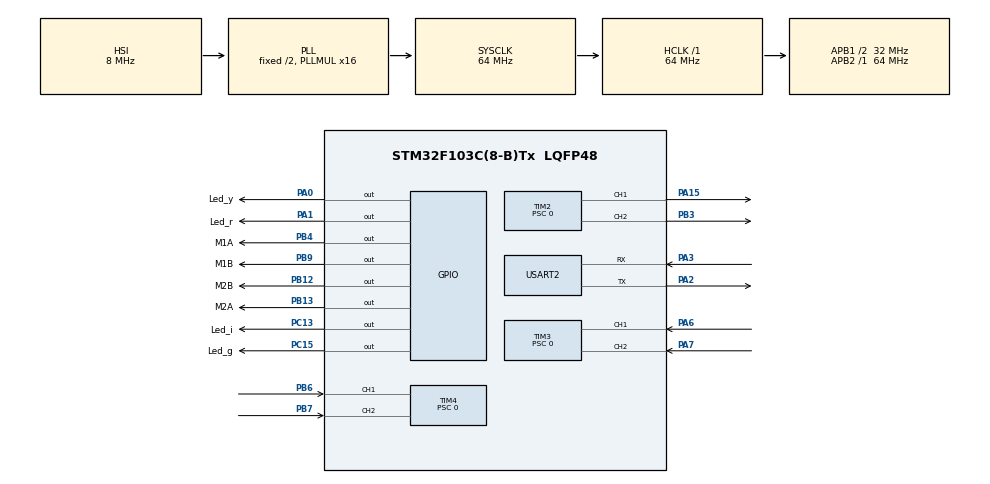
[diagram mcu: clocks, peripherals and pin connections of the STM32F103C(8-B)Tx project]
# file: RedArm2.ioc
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Mcu.Family=STM32F1
Mcu.Name=STM32F103C(8-B)Tx
Mcu.Package=LQFP48
NVIC.PriorityGroup=NVIC_PRIORITYGROUP_4
NVIC.TIM2_IRQn=true\:0\:0\:false\:false\:true\:true\:true
NVIC.USART2_IRQn=true\:0\:0\:false\:false\:true\:true\:true
PA0-WKUP.GPIO_Label=Led_y
PA0-WKUP.GPIO_PuPd=GPIO_PULLUP
PA0-WKUP.Signal=GPIO_Output
PA1.GPIO_Label=Led_r
PA1.GPIO_PuPd=GPIO_PULLUP
PA1.Signal=GPIO_Output
PA13.Mode=Serial_Wire
PA13.Signal=SYS_JTMS-SWDIO
PA14.Mode=Serial_Wire
PA14.Signal=SYS_JTCK-SWCLK
PA15.Signal=S_TIM2_CH1_ETR
PA2.Mode=Asynchronous
PA2.Signal=USART2_TX
PA3.Mode=Asynchronous
PA3.Signal=USART2_RX
PA6.Signal=S_TIM3_CH1
PA7.Signal=S_TIM3_CH2
PB12.GPIO_Label=M2B
PB12.Signal=GPIO_Output
PB13.GPIO_Label=M2A
PB13.Signal=GPIO_Output
PB3.Signal=S_TIM2_CH2
PB4.GPIO_Label=M1A
PB4.Signal=GPIO_Output
PB6.Signal=S_TIM4_CH1
PB7.Signal=S_TIM4_CH2
PB9.GPIO_Label=M1B
PB9.Signal=GPIO_Output
PC13-TAMPER-RTC.GPIO_Label=Led_i
PC13-TAMPER-RTC.GPIO_PuPd=GPIO_PULLUP
PC13-TAMPER-RTC.PinState=GPIO_PIN_RESET
PC13-TAMPER-RTC.Signal=GPIO_Output
PC15-OSC32_OUT.GPIO_Label=Led_g
PC15-OSC32_OUT.GPIO_PuPd=GPIO_PULLUP
PC15-OSC32_OUT.Signal=GPIO_Output
ProjectManager.HeapSize=0x200
ProjectManager.StackSize=0x400
ProjectManager.TargetToolchain=STM32CubeIDE
RCC.AHBFreq_Value=64000000
RCC.APB1CLKDivider=RCC_HCLK_DIV2
RCC.APB1Freq_Value=32000000
RCC.APB1TimFreq_Value=64000000
RCC.APB2Freq_Value=64000000
RCC.APB2TimFreq_Value=64000000
RCC.HCLKFreq_Value=64000000
RCC.PLLMUL=RCC_PLL_MUL16
RCC.SYSCLKFreq_VALUE=64000000
RCC.SYSCLKSource=RCC_SYSCLKSOURCE_PLLCLK
RCC.USBFreq_Value=64000000
SH.S_TIM2_CH1_ETR.0=TIM2_CH1,PWM Generation1 CH1
SH.S_TIM2_CH2.0=TIM2_CH2,PWM Generation2 CH2
SH.S_TIM3_CH1.0=TIM3_CH1,Encoder_Interface
SH.S_TIM3_CH2.0=TIM3_CH2,Encoder_Interface
SH.S_TIM4_CH1.0=TIM4_CH1,Encoder_Interface
SH.S_TIM4_CH2.0=TIM4_CH2,Encoder_Interface
TIM2.Channel-PWM\ Generation1\ CH1=TIM_CHANNEL_1
TIM2.Channel-PWM\ Generation2\ CH2=TIM_CHANNEL_2
TIM2.ClockDivision=TIM_CLOCKDIVISION_DIV1
TIM2.OC1Preload_PWM=DISABLE
TIM2.OC2Preload_PWM=DISABLE
TIM2.Period=3199
TIM2.Prescaler=0
TIM2.Pulse-PWM\ Generation2\ CH2=0
TIM3.EncoderMode=TIM_ENCODERMODE_TI12
TIM3.Period=59999
TIM3.Prescaler=0
TIM4.EncoderMode=TIM_ENCODERMODE_TI12
TIM4.Period=59999
TIM4.Prescaler=0
USART2.VirtualMode=VM_ASYNC
VP_TIM2_VS_ClockSourceINT.Mode=Internal
board=custom

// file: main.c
/* USER CODE BEGIN Header */
/**
  ******************************************************************************
  * Arquivo           : main.c
  *
  * Descrição         : Código do microcontrolador ARM para os robôs VSSS da
  * 					Equipe Red Dragons UFSCar. Desenvolvido por Matheus
  * 					Sousa Soares em 2020.
  *
  * 					Para contato: matheussousasf@gmail.com ou
  * 								  matheussousa@df.ufscar.br
  * 								  (31) 975340460
  *
  ******************************************************************************
  ******************************************************************************
  *
  * Organizar código com comentários e com um mini interface no começo
  *
  *
  ******************************************************************************
  ******************************************************************************
  * Código desenvolvido na CUBE IDE 1.7.0
  *
  * Lista de funções desempenhadas:
  * Comunicação UART por interrupção com módulo Xbee
  * Leitura e interpretação da mensagem recebida
  * Geração de PWM para motores
  * Leitura dos Encoders
  * Controle da velocidade dos motores com PWM gerado
  * Modo de ajuste do controlador
  *
  * ****************************************************************************
  * Como utilizar:
  *
  * Editar nas partes com "USER CODE" o resto do código é gerado automaticamente
  * pela parte de configuração do microcontrolador na IDE (arquivo .ioc).
  *
  * Organize e comente as suas funções e códigos adequadamente para facilitar
  * para os membros futuros da equipe. Utilize o Git para atualizar o código.
  *
  * Modo de Controle:
  * 	Ativar a variável "medir_vel" = 1
  *
  * 	Para medir a velocidade sem controlador:
  * 		Ativar a variável "desl_controlador" = 1
  * 		Sertar PWM do teste na variável "PWM_test"
  * 		O robô então vai se mover com a tensão nos motores correspondente ao PWM setado
  * 		Depois de medir a velocidade por uma quantidade de pontos igual a "vetor_dados"
  * 		O robô vai parar e enviar os dados pelo módulo de rádio.
  *
  * 	Para medir a velocidade com o controlador:
  * 		Desativar a variável "desl_controlador" = 0
  * 		Setar a velocidade alvo de cada controlador nas variáveis "w_targetM1" e "w_targetM12"
  * 			Essa velocidade está em rad/s
  * 		Depois de medir a velocidade por uma quantidade de pontos igual a "vetor_dados"
  * 		O robô vai parar e enviar os dados pelo módulo de rádio.
  *
  * Modo de jogo:
  * 	Desativar a variável "medir_vel" = 0
  * 	O robô vai aguradar uma menságem para definir o setpoint do controlar
  *
  *		OBS: O tempo de loop do controlador e da medição dos dados foi definido em 10ms por
  *			conta da resolução dos encoders.
  *
  * ***************************************************************************
  * Partes do código
  * USER CODE Header: Comentários de introdução
  * USER CODE Includes: Bibliotecas do usuário
  * USER CODE PV: Vazio
  * USER CODE 0: Declaração de variáveis
  * USER CODE 1: Variáveis da equação de controle e
  * USER CODE SysInit: Vazio
  * USER CODE 2: Inicialização do sistema
  * USER CODE WHILE: Loop de programa
  * USER CODE 3: Vazio
  * USER CODE 4: Funções de interrupção e timers
  *
  * Preencher aqui conforme o código for atualizado, por favor.
  ******************************************************************************
  */
/* USER CODE END Header */
#include "main.h"

/* USER CODE BEGIN Includes */
#include "math.h"
/* USER CODE END Includes */

TIM_HandleTypeDef htim2;
TIM_HandleTypeDef htim3;
TIM_HandleTypeDef htim4;

UART_HandleTypeDef huart2;

void SystemClock_Config(void);
static void MX_GPIO_Init(void);
static void MX_TIM2_Init(void);
static void MX_TIM3_Init(void);
static void MX_TIM4_Init(void);
static void MX_USART2_UART_Init(void);

/* USER CODE BEGIN 0 */

//Variáveis gerais
static int true = 1;
static int false = 0;
uint16_t delay = 500;

//Variáveis do modo de controle
int vetor_dados = 150;

int medir_vel = 0;
int desl_controlador = 0;
int PWM_test = 3200;

double w_targetM1 = 20;
double w_targetM2 = 20;

int cont_vel = 0;
double velocidadesM1[150]= {};
double velocidadesM2[150]= {};
uint8_t buffer_vel[6] = {};
int start_medir_vel = 0;

//Variáveis de comunicação serial
uint8_t size_msg = 10;
uint8_t tx_buffer[] = {'L','i','g','a','d','o',' ',' ',' ','\n'}; // Msg inicial enviada pelo robô
uint8_t rx_buffer[10]; //Buffer que recebe as mensagens

// Variáveis de controle dos motores
uint16_t duty_cycle = 0;
int speedM1 = 0;
int speedM2 = 0;
unsigned int pwmM1 = 0;
unsigned int pwmM2 = 0;
int sentidoM1 = 0;
int sentidoM2 = 0;
int cont_loop = 200;

double w_rodaM1[2] = {};
double w_rodaM2[2] = {};

double acaoM1[2] = {0,0};
double acaoM2[2] = {0,0};
double erroM1[3] = {0,0,0};
double erroM2[3] = {0,0,0};

int pulse_cnt = 3200; // Contagem de pulsos do clock. É a resolução do PWM
int cont_controle = 0;
int npulsos = 12;
int cppM1[2] ={0,0};
int cppM2[2] = {0,0};
int flag_controle = 0;

// Valores do controlador
double K1 = 20*0.9;
double Td1 = 2e-3;
double Ti1 = 10e-3;
double K2 = 20*0.9;
double Td2 = 2e-3;
double Ti2 = 10e-3;

/* USER CODE END 0 */

int main(void)
{
  /* USER CODE BEGIN 1 */

	if (medir_vel == false){
		w_targetM1 = 0.0;
		w_targetM2 = 0.0;
	}

	double Tloop = 2.0/(cont_loop);

	// Variáveis do controlador
	double M1A1 = 2.0*Tloop*K1 + K1*(Tloop*Tloop)/Ti1 + 2.0*K1*Td1;
	double M1A2 = K1*(Tloop*Tloop)/Ti1 - 2.0*Tloop*K1 - 4.0*K1*Td1;
	double M1A3 = 2.0*K1*Td1;

	double M2A1 = 2.0*Tloop*K2 + K2*(Tloop*Tloop)/Ti2 + 2.0*K2*Td2;
	double M2A2 = K2*(Tloop*Tloop)/Ti2 - 2.0*Tloop*K2 - 4.0*K2*Td2;
	double M2A3 = 2.0*K2*Td2;

  /* USER CODE END 1 */

  /* MCU Configuration--------------------------------------------------------*/

  /* Reset of all peripherals, Initializes the Flash interface and the Systick. */
  HAL_Init();

  /* Configure the system clock */
  SystemClock_Config();

  /* Initialize all configured peripherals */
  MX_GPIO_Init();
  MX_TIM2_Init();
  MX_TIM3_Init();
  MX_TIM4_Init();
  MX_USART2_UART_Init();
  /* USER CODE BEGIN 2 */

  HAL_UART_Transmit_IT(&huart2, tx_buffer, size_msg); // envia a msg inicial
  HAL_UART_Receive_IT(&huart2, rx_buffer, size_msg);// Faz com que o robô ligue o receptor de msg
  HAL_TIM_PWM_Start(&htim2, TIM_CHANNEL_2); // Inicia o Timer 2 do PWM
  HAL_TIM_PWM_Start(&htim2, TIM_CHANNEL_1);
  HAL_TIM_Base_Start_IT(&htim2); // Inicia o Timer 2 no modo de interrupção.
  HAL_TIM_Encoder_Start(&htim3, TIM_CHANNEL_ALL); // Inicia o encoder M1
  HAL_TIM_Encoder_Start(&htim4, TIM_CHANNEL_ALL); //Inicia o módulo de leitura do encoder M2
  HAL_GPIO_WritePin(Led_i_GPIO_Port, Led_i_Pin, SET);// Desliga o led da placa de desenvolvimento
  HAL_GPIO_WritePin(M2A_GPIO_Port, M2A_Pin, RESET);
  HAL_GPIO_WritePin(M2B_GPIO_Port, M2B_Pin, RESET);
  HAL_GPIO_WritePin(M1A_GPIO_Port, M1A_Pin, RESET);
  HAL_GPIO_WritePin(M1B_GPIO_Port, M1B_Pin, RESET);

  HAL_Delay(2000); // Delay para zerar qualquer velocidade do robô
  HAL_GPIO_WritePin(M2A_GPIO_Port, M2A_Pin, SET);
  HAL_GPIO_WritePin(M2B_GPIO_Port, M2B_Pin, RESET);
  HAL_GPIO_WritePin(M1A_GPIO_Port, M1A_Pin, SET);
  HAL_GPIO_WritePin(M1B_GPIO_Port, M1B_Pin, RESET);

  if(desl_controlador == true){
	  __HAL_TIM_SET_COMPARE(&htim2, TIM_CHANNEL_1, PWM_test);
	  __HAL_TIM_SET_COMPARE(&htim2, TIM_CHANNEL_2, PWM_test);
  }

  /* USER CODE END 2 */

  /* Infinite loop */
  /* USER CODE BEGIN WHILE */

	  while (1)
	  {

		  if(flag_controle == true){
			  HAL_GPIO_TogglePin(Led_g_GPIO_Port,Led_g_Pin);
			  flag_controle = false;

			  cppM1[0] = TIM3->CNT;
			  cppM2[0] = TIM4->CNT;

			  // Começa o update

			  // Checagem do sentido de rotação das rodas e calculo da velocidade

			  if (TIM3->CNT >= cppM1[1]){
				  sentidoM1 = 1;
				  w_rodaM1[0] = (2*M_PI*(TIM3->CNT-cppM1[1]))/(npulsos);
			  }

			  if (TIM3->CNT < cppM1[1]) {
				  sentidoM1 = 0;
				  w_rodaM1[0] = (2*M_PI*(cppM1[1]-TIM3->CNT))/(npulsos);
			  }

			  if (TIM4->CNT >= cppM2[1]){
				  sentidoM2 = 1;
				  w_rodaM2[0] = (2*M_PI*(TIM4->CNT-cppM2[1]))/(npulsos);
			  }

			  if (TIM4->CNT < cppM2[1]){
				  sentidoM2 = 0;
				  w_rodaM2[0] = (2*M_PI*(cppM2[1]-TIM4->CNT))/(npulsos);
			  }

			  // Filtro para o estouro do encoder
			  if (w_rodaM1[0] > 35) w_rodaM1[0] = w_rodaM1[1];
			  if (w_rodaM2[0] > 35) w_rodaM2[0] = w_rodaM2[1];

			  // Fim do update

			  w_rodaM1[1] = w_rodaM1[0];
			  w_rodaM2[1] = w_rodaM2[0];

			  erroM1[0] = w_targetM1 - w_rodaM1[0];
			  erroM2[0] = w_targetM2 - w_rodaM2[0];

			  //acaoM1[0] = acaoM1[1] + K1*(1 + Tloop/Ti1 + Td1/Tloop)*erroM1[0] - (1 - 2*Td1/Tloop)*erroM1[1] + (Td1/Tloop)*erroM1[2];
			  //acaoM2[0] = acaoM2[1] + K2*(1 + Tloop/Ti2 + Td2/Tloop)*erroM2[0] - (1 - 2*Td2/Tloop)*erroM2[1] + (Td2/Tloop)*erroM2[2];
			  acaoM1[0] += 1.0/(2*Tloop)*(M1A1*erroM1[0] + M1A2*erroM1[1] + M1A3*erroM1[2]);
			  acaoM2[0] += 1.0/(2*Tloop)*(M2A1*erroM2[0] + M2A2*erroM2[1] + M2A3*erroM2[2]);

			  pwmM1 = ceil(acaoM1[0]);
			  pwmM2 = ceil(acaoM2[0]);

			  if (pwmM1 > 3200)	pwmM1 = 3200;
			  if (pwmM1 < 0) pwmM1 = 0;
			  if (pwmM2 > 3200) pwmM2 = 3200;
			  if (pwmM2 < 0) pwmM2 = 0;

			  // Ajusta o valor do duty cycle do PWM atualizando a velocidade do robô

			  if(desl_controlador == false){
				  __HAL_TIM_SET_COMPARE(&htim2, TIM_CHANNEL_1, pwmM2);
				  __HAL_TIM_SET_COMPARE(&htim2, TIM_CHANNEL_2, pwmM1);
			  }

			  // Atualizando variáveis para o próximo loop de controle
			  cppM1[1] = cppM1[0];
			  cppM2[1] = cppM2[0];

			  erroM1[2] = erroM1[1];
			  erroM2[2] = erroM2[1];

			  erroM1[1] = erroM1[0];
			  erroM2[1] = erroM2[0];

			  acaoM1[1] = acaoM1[0];
			  acaoM2[1] = acaoM2[0];

			  if (w_rodaM1[0] > 0.1) start_medir_vel = true;

			  if (medir_vel == true){
				  if (start_medir_vel == true){
					  velocidadesM1[cont_vel] = w_rodaM1[0];
					  velocidadesM2[cont_vel] = w_rodaM2[0];
					  cont_vel ++;
				  }
			  }

			  HAL_GPIO_TogglePin(Led_g_GPIO_Port,Led_g_Pin);

			  if (cont_vel == vetor_dados){
				  HAL_TIM_Base_Stop_IT(&htim2);
				  HAL_GPIO_WritePin(M2A_GPIO_Port, M2A_Pin, RESET);
				  HAL_GPIO_WritePin(M2B_GPIO_Port, M2B_Pin, RESET);
				  HAL_GPIO_WritePin(M1A_GPIO_Port, M1A_Pin, RESET);
				  HAL_GPIO_WritePin(M1B_GPIO_Port, M1B_Pin, RESET);

				  uint8_t motor1[] = {'M','O','T','O','R','_','1',' ','\n','\n'};
				  uint8_t motor2[] = {'\n','M','O','T','O','R','_','2',' ','\n','\n'};

				  HAL_UART_Transmit_IT(&huart2, motor1, 10);

				  for(int j=0;j < vetor_dados;j++){
					  int aux = 0;
					  int aux1 = 0;
					  aux1 = floor(velocidadesM1[j]*100);

					  for(int i = 0; i<5; i++ ){

						  if(i == 4){
							  aux = aux1;
						  }
						  else{
							  aux = aux1/pow(10,4-i);
							  aux1 = aux1- aux*pow(10,4-i);
						  }

						  buffer_vel[i] = aux +'0';

					  }
					  buffer_vel[5] = '\n';
					  HAL_UART_Transmit_IT(&huart2, buffer_vel, 6);
				  }

				  HAL_Delay(1000);

				  HAL_UART_Transmit_IT(&huart2, motor2, 11);

				  for(int j=0;j< vetor_dados;j++){
					  int aux = 0;
					  int aux1 = 0;
					  aux1 = floor(velocidadesM2[j]*100);

					  for(int i = 0; i<5; i++ ){

						  if(i == 4){
							  aux = aux1;
						  }
						  else{
							  aux = aux1/pow(10,4-i);
							  aux1 = aux1- aux*pow(10,4-i);
						  }

						  buffer_vel[i] = aux +'0';

					  }
					  buffer_vel[5] = '\n';
					  HAL_UART_Transmit_IT(&huart2, buffer_vel, 6);
					  }
			  }
	  }

	  /*
	   if(retorno == true){

	  		for(int i = 0; i<10; i++ ){ // Clona e envia a msg recebida
	  			tx_buffer[i] = rx_buffer[i];
	  		}
	  		HAL_UART_Transmit_IT(&huart2, tx_buffer, 10);

		}
	    */
    /* USER CODE END WHILE */

  }
}

void SystemClock_Config(void)
{
  RCC_OscInitTypeDef RCC_OscInitStruct = {0};
  RCC_ClkInitTypeDef RCC_ClkInitStruct = {0};

  /** Initializes the RCC Oscillators according to the specified parameters
  * in the RCC_OscInitTypeDef structure.
  */
  RCC_OscInitStruct.OscillatorType = RCC_OSCILLATORTYPE_HSI;
  RCC_OscInitStruct.HSIState = RCC_HSI_ON;
  RCC_OscInitStruct.HSICalibrationValue = RCC_HSICALIBRATION_DEFAULT;
  RCC_OscInitStruct.PLL.PLLState = RCC_PLL_ON;
  RCC_OscInitStruct.PLL.PLLSource = RCC_PLLSOURCE_HSI_DIV2;
  RCC_OscInitStruct.PLL.PLLMUL = RCC_PLL_MUL16;
  if (HAL_RCC_OscConfig(&RCC_OscInitStruct) != HAL_OK)
  {
    Error_Handler();
  }
  /** Initializes the CPU, AHB and APB buses clocks
  */
  RCC_ClkInitStruct.ClockType = RCC_CLOCKTYPE_HCLK|RCC_CLOCKTYPE_SYSCLK
                              |RCC_CLOCKTYPE_PCLK1|RCC_CLOCKTYPE_PCLK2;
  RCC_ClkInitStruct.SYSCLKSource = RCC_SYSCLKSOURCE_PLLCLK;
  RCC_ClkInitStruct.AHBCLKDivider = RCC_SYSCLK_DIV1;
  RCC_ClkInitStruct.APB1CLKDivider = RCC_HCLK_DIV2;
  RCC_ClkInitStruct.APB2CLKDivider = RCC_HCLK_DIV1;

  if (HAL_RCC_ClockConfig(&RCC_ClkInitStruct, FLASH_LATENCY_2) != HAL_OK)
  {
    Error_Handler();
  }
}

static void MX_TIM2_Init(void)
{

  TIM_ClockConfigTypeDef sClockSourceConfig = {0};
  TIM_MasterConfigTypeDef sMasterConfig = {0};
  TIM_OC_InitTypeDef sConfigOC = {0};

  htim2.Instance = TIM2;
  htim2.Init.Prescaler = 0;
  htim2.Init.CounterMode = TIM_COUNTERMODE_UP;
  htim2.Init.Period = 3199;
  htim2.Init.ClockDivision = TIM_CLOCKDIVISION_DIV1;
  htim2.Init.AutoReloadPreload = TIM_AUTORELOAD_PRELOAD_DISABLE;
  if (HAL_TIM_Base_Init(&htim2) != HAL_OK)
  {
    Error_Handler();
  }
  sClockSourceConfig.ClockSource = TIM_CLOCKSOURCE_INTERNAL;
  if (HAL_TIM_ConfigClockSource(&htim2, &sClockSourceConfig) != HAL_OK)
  {
    Error_Handler();
  }
  if (HAL_TIM_PWM_Init(&htim2) != HAL_OK)
  {
    Error_Handler();
  }
  sMasterConfig.MasterOutputTrigger = TIM_TRGO_RESET;
  sMasterConfig.MasterSlaveMode = TIM_MASTERSLAVEMODE_DISABLE;
  if (HAL_TIMEx_MasterConfigSynchronization(&htim2, &sMasterConfig) != HAL_OK)
  {
    Error_Handler();
  }
  sConfigOC.OCMode = TIM_OCMODE_PWM1;
  sConfigOC.Pulse = 0;
  sConfigOC.OCPolarity = TIM_OCPOLARITY_HIGH;
  sConfigOC.OCFastMode = TIM_OCFAST_DISABLE;
  if (HAL_TIM_PWM_ConfigChannel(&htim2, &sConfigOC, TIM_CHANNEL_1) != HAL_OK)
  {
    Error_Handler();
  }
  __HAL_TIM_DISABLE_OCxPRELOAD(&htim2, TIM_CHANNEL_1);
  if (HAL_TIM_PWM_ConfigChannel(&htim2, &sConfigOC, TIM_CHANNEL_2) != HAL_OK)
  {
    Error_Handler();
  }
  __HAL_TIM_DISABLE_OCxPRELOAD(&htim2, TIM_CHANNEL_2);
  HAL_TIM_MspPostInit(&htim2);

}

static void MX_TIM3_Init(void)
{

  TIM_Encoder_InitTypeDef sConfig = {0};
  TIM_MasterConfigTypeDef sMasterConfig = {0};

  htim3.Instance = TIM3;
  htim3.Init.Prescaler = 0;
  htim3.Init.CounterMode = TIM_COUNTERMODE_UP;
  htim3.Init.Period = 59999;
  htim3.Init.ClockDivision = TIM_CLOCKDIVISION_DIV1;
  htim3.Init.AutoReloadPreload = TIM_AUTORELOAD_PRELOAD_DISABLE;
  sConfig.EncoderMode = TIM_ENCODERMODE_TI12;
  sConfig.IC1Polarity = TIM_ICPOLARITY_RISING;
  sConfig.IC1Selection = TIM_ICSELECTION_DIRECTTI;
  sConfig.IC1Prescaler = TIM_ICPSC_DIV1;
  sConfig.IC1Filter = 0;
  sConfig.IC2Polarity = TIM_ICPOLARITY_RISING;
  sConfig.IC2Selection = TIM_ICSELECTION_DIRECTTI;
  sConfig.IC2Prescaler = TIM_ICPSC_DIV1;
  sConfig.IC2Filter = 0;
  if (HAL_TIM_Encoder_Init(&htim3, &sConfig) != HAL_OK)
  {
    Error_Handler();
  }
  sMasterConfig.MasterOutputTrigger = TIM_TRGO_RESET;
  sMasterConfig.MasterSlaveMode = TIM_MASTERSLAVEMODE_DISABLE;
  if (HAL_TIMEx_MasterConfigSynchronization(&htim3, &sMasterConfig) != HAL_OK)
  {
    Error_Handler();
  }

}

static void MX_TIM4_Init(void)
{

  TIM_Encoder_InitTypeDef sConfig = {0};
  TIM_MasterConfigTypeDef sMasterConfig = {0};

  htim4.Instance = TIM4;
  htim4.Init.Prescaler = 0;
  htim4.Init.CounterMode = TIM_COUNTERMODE_UP;
  htim4.Init.Period = 59999;
  htim4.Init.ClockDivision = TIM_CLOCKDIVISION_DIV1;
  htim4.Init.AutoReloadPreload = TIM_AUTORELOAD_PRELOAD_DISABLE;
  sConfig.EncoderMode = TIM_ENCODERMODE_TI12;
  sConfig.IC1Polarity = TIM_ICPOLARITY_RISING;
  sConfig.IC1Selection = TIM_ICSELECTION_DIRECTTI;
  sConfig.IC1Prescaler = TIM_ICPSC_DIV1;
  sConfig.IC1Filter = 0;
  sConfig.IC2Polarity = TIM_ICPOLARITY_RISING;
  sConfig.IC2Selection = TIM_ICSELECTION_DIRECTTI;
  sConfig.IC2Prescaler = TIM_ICPSC_DIV1;
  sConfig.IC2Filter = 0;
  if (HAL_TIM_Encoder_Init(&htim4, &sConfig) != HAL_OK)
  {
    Error_Handler();
  }
  sMasterConfig.MasterOutputTrigger = TIM_TRGO_RESET;
  sMasterConfig.MasterSlaveMode = TIM_MASTERSLAVEMODE_DISABLE;
  if (HAL_TIMEx_MasterConfigSynchronization(&htim4, &sMasterConfig) != HAL_OK)
  {
    Error_Handler();
  }

}

static void MX_USART2_UART_Init(void)
{

  huart2.Instance = USART2;
  huart2.Init.BaudRate = 115200;
  huart2.Init.WordLength = UART_WORDLENGTH_8B;
  huart2.Init.StopBits = UART_STOPBITS_1;
  huart2.Init.Parity = UART_PARITY_NONE;
  huart2.Init.Mode = UART_MODE_TX_RX;
  huart2.Init.HwFlowCtl = UART_HWCONTROL_NONE;
  huart2.Init.OverSampling = UART_OVERSAMPLING_16;
  if (HAL_UART_Init(&huart2) != HAL_OK)
  {
    Error_Handler();
  }

}

static void MX_GPIO_Init(void)
{
  GPIO_InitTypeDef GPIO_InitStruct = {0};

  /* GPIO Ports Clock Enable */
  __HAL_RCC_GPIOC_CLK_ENABLE();
  __HAL_RCC_GPIOA_CLK_ENABLE();
  __HAL_RCC_GPIOB_CLK_ENABLE();

  /*Configure GPIO pin Output Level */
  HAL_GPIO_WritePin(GPIOC, Led_i_Pin|Led_g_Pin, GPIO_PIN_RESET);

  /*Configure GPIO pin Output Level */
  HAL_GPIO_WritePin(GPIOA, Led_y_Pin|Led_r_Pin, GPIO_PIN_RESET);

  /*Configure GPIO pin Output Level */
  HAL_GPIO_WritePin(GPIOB, M2B_Pin|M2A_Pin|M1A_Pin|M1B_Pin, GPIO_PIN_RESET);

  /*Configure GPIO pins : Led_i_Pin Led_g_Pin */
  GPIO_InitStruct.Pin = Led_i_Pin|Led_g_Pin;
  GPIO_InitStruct.Mode = GPIO_MODE_OUTPUT_PP;
  GPIO_InitStruct.Pull = GPIO_PULLUP;
  GPIO_InitStruct.Speed = GPIO_SPEED_FREQ_LOW;
  HAL_GPIO_Init(GPIOC, &GPIO_InitStruct);

  /*Configure GPIO pins : Led_y_Pin Led_r_Pin */
  GPIO_InitStruct.Pin = Led_y_Pin|Led_r_Pin;
  GPIO_InitStruct.Mode = GPIO_MODE_OUTPUT_PP;
  GPIO_InitStruct.Pull = GPIO_PULLUP;
  GPIO_InitStruct.Speed = GPIO_SPEED_FREQ_LOW;
  HAL_GPIO_Init(GPIOA, &GPIO_InitStruct);

  /*Configure GPIO pins : M2B_Pin M2A_Pin M1A_Pin M1B_Pin */
  GPIO_InitStruct.Pin = M2B_Pin|M2A_Pin|M1A_Pin|M1B_Pin;
  GPIO_InitStruct.Mode = GPIO_MODE_OUTPUT_PP;
  GPIO_InitStruct.Pull = GPIO_NOPULL;
  GPIO_InitStruct.Speed = GPIO_SPEED_FREQ_LOW;
  HAL_GPIO_Init(GPIOB, &GPIO_InitStruct);

}

/* USER CODE BEGIN 4 */

void HAL_UART_RxCpltCallback(UART_HandleTypeDef *huart){ // Função chaamada quando o buffer de recepção está CHEIO

	HAL_GPIO_TogglePin(Led_r_GPIO_Port,Led_r_Pin);

	//####################################################
	if(rx_buffer[0] == 'G'){// Função que inicia o PWM
			HAL_TIM_PWM_Start(&htim2, TIM_CHANNEL_2);
		}

	//####################################################
	// Interpreta a msg e converte em velocidade
	speedM1 = 1000*(rx_buffer[1]-'0') + 100*(rx_buffer[2]-'0') + 10*(rx_buffer[3]-'0') + (rx_buffer[4]-'0');
	// Interpreta a msg e converte em velocidade
	speedM2 = 1000*(rx_buffer[6]-'0') + 100*(rx_buffer[7]-'0') + 10*(rx_buffer[8]-'0') + (rx_buffer[9]-'0');

	if (speedM1 > 3000){
		speedM1 = 3000;
	}
	if(speedM2 > 3000){
		speedM2 = 3000;
	}

	// Define novo alvo para a velocidade

	w_targetM1 = speedM1/100.0;
	w_targetM2 = speedM2/100.0;

	// Ajusta o valor do duty cycle do PWM atualizando a velocidade do robô
	//__HAL_TIM_SET_COMPARE(&htim2, TIM_CHANNEL_1, speedM1);
	//__HAL_TIM_SET_COMPARE(&htim2, TIM_CHANNEL_2, speedM2);

	//####################################################
	//Parte que lida com o motor 1
	if(rx_buffer[0] == 'F'){// Função vira para a direita

		HAL_GPIO_WritePin(M1A_GPIO_Port, M1A_Pin, SET);
		HAL_GPIO_WritePin(M1B_GPIO_Port, M1B_Pin, RESET);
		//HAL_GPIO_TogglePin(Led_g_GPIO_Port,Led_g_Pin);
	}
	if(rx_buffer[0] == 'T'){// Função vira para a esquerda

		HAL_GPIO_WritePin(M1A_GPIO_Port, M1A_Pin, RESET);
		HAL_GPIO_WritePin(M1B_GPIO_Port, M1B_Pin, SET);
		//HAL_GPIO_TogglePin(Led_y_GPIO_Port,Led_y_Pin);

	}
	if(rx_buffer[0] == 'S'){// Função que par aos motores
		//HAL_TIM_PWM_Stop(&htim2, TIM_CHANNEL_2);
		//HAL_GPIO_TogglePin(Led_r_GPIO_Port,Led_r_Pin);

		//HAL_GPIO_WritePin(M1A_GPIO_Port, M1A_Pin, RESET);
		//HAL_GPIO_WritePin(M1A_GPIO_Port, M1B_Pin, RESET);
		speedM2 = 0;
		}

	//####################################################
	//Parte que lida com o motor 2
	if(rx_buffer[5] == 'F'){// Função vira para a direita

		HAL_GPIO_WritePin(M2A_GPIO_Port, M2A_Pin, SET);
		HAL_GPIO_WritePin(M2B_GPIO_Port, M2B_Pin, RESET);
		//HAL_GPIO_TogglePin(Led_g_GPIO_Port,Led_g_Pin);
	}
	if(rx_buffer[5] == 'T'){// Função vira para a esquerda

		HAL_GPIO_WritePin(M2A_GPIO_Port, M2A_Pin, RESET);
		HAL_GPIO_WritePin(M2B_GPIO_Port, M2B_Pin, SET);
		//HAL_GPIO_TogglePin(Led_y_GPIO_Port,Led_y_Pin);

	}
	if(rx_buffer[5] == 'S'){// Função que par aos motores
		//HAL_TIM_PWM_Stop(&htim2, TIM_CHANNEL_2);
		//HAL_GPIO_TogglePin(Led_r_GPIO_Port,Led_r_Pin);
		HAL_GPIO_WritePin(M2A_GPIO_Port, M2A_Pin, RESET);
		HAL_GPIO_WritePin(M2A_GPIO_Port, M2B_Pin, RESET);
		speedM2 = 0;
		}

	//####################################################

	else{
		__NOP();// Adicionado para fins de Debug portanto não faz nada
	}

	//####################################################

	HAL_UART_Receive_IT(&huart2, rx_buffer, size_msg);// Liga a recepção para a próxima msg

	HAL_GPIO_TogglePin(Led_r_GPIO_Port,Led_r_Pin);

}
void HAL_UART_TxCpltCallback(UART_HandleTypeDef *huart){// Função executada depois que a msg é totalmente enviada
	__NOP();

}

void HAL_UART_ErrorCallback(UART_HandleTypeDef *huart){
	HAL_GPIO_TogglePin(Led_i_GPIO_Port, Led_i_Pin);
}

void HAL_TIM_PeriodElapsedCallback(TIM_HandleTypeDef *htim){

	cont_controle++;
	if (cont_controle == cont_loop){
		HAL_GPIO_TogglePin(Led_y_GPIO_Port,Led_y_Pin);
		cont_controle = 0;
		flag_controle = true;

	}
}

/* USER CODE END 4 */

void Error_Handler(void)
{
  __disable_irq();
  while (1)
  {
  }
}

/************************ (C) COPYRIGHT STMicroelectronics *****END OF FILE****/
